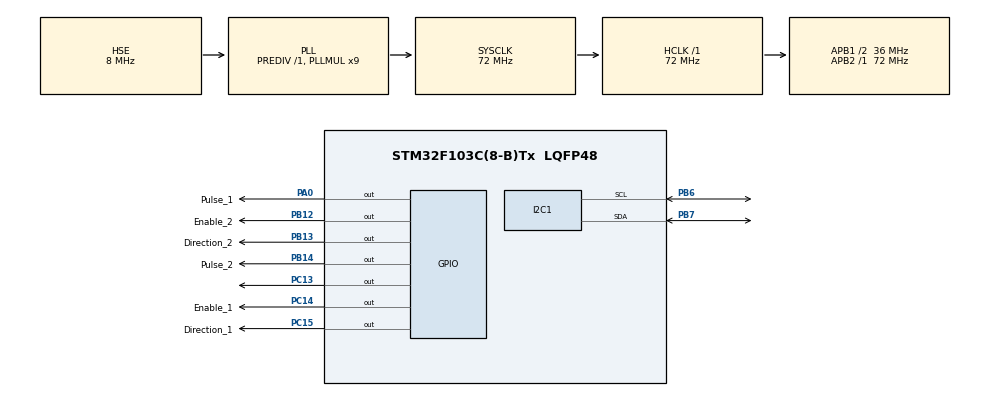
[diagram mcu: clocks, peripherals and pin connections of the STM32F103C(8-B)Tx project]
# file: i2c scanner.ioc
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I2C1.OwnAddress=32
Mcu.Family=STM32F1
Mcu.Name=STM32F103C(8-B)Tx
Mcu.Package=LQFP48
NVIC.I2C1_ER_IRQn=true\:0\:0\:false\:false\:true\:true\:true\:true
NVIC.I2C1_EV_IRQn=true\:0\:0\:false\:false\:true\:true\:true\:true
NVIC.PriorityGroup=NVIC_PRIORITYGROUP_4
NVIC.RCC_IRQn=true\:0\:0\:false\:false\:true\:true\:false\:true
NVIC.TIM1_BRK_IRQn=true\:0\:0\:false\:false\:true\:true\:true\:true
NVIC.TIM1_CC_IRQn=true\:0\:0\:false\:false\:true\:true\:true\:true
NVIC.TIM1_TRG_COM_IRQn=true\:0\:0\:false\:false\:true\:true\:true\:true
NVIC.TIM1_UP_IRQn=true\:0\:0\:false\:false\:true\:true\:true\:true
NVIC.TIM2_IRQn=true\:0\:0\:false\:false\:true\:true\:true\:true
PA0-WKUP.GPIO_Label=Pulse_1
PA0-WKUP.Signal=GPIO_Output
PA13.Mode=Serial_Wire
PA13.Signal=SYS_JTMS-SWDIO
PA14.Mode=Serial_Wire
PA14.Signal=SYS_JTCK-SWCLK
PB12.GPIO_Label=Enable_2
PB12.Signal=GPIO_Output
PB13.GPIO_Label=Direction_2
PB13.Signal=GPIO_Output
PB14.GPIO_Label=Pulse_2
PB14.Signal=GPIO_Output
PB6.Mode=I2C
PB6.Signal=I2C1_SCL
PB7.Mode=I2C
PB7.Signal=I2C1_SDA
PC13-TAMPER-RTC.Signal=GPIO_Output
PC14-OSC32_IN.GPIO_Label=Enable_1
PC14-OSC32_IN.Signal=GPIO_Output
PC15-OSC32_OUT.GPIO_Label=Direction_1
PC15-OSC32_OUT.Signal=GPIO_Output
PD0-OSC_IN.Mode=HSE-External-Oscillator
PD0-OSC_IN.Signal=RCC_OSC_IN
PD1-OSC_OUT.Mode=HSE-External-Oscillator
PD1-OSC_OUT.Signal=RCC_OSC_OUT
ProjectManager.HeapSize=0x200
ProjectManager.StackSize=0x400
ProjectManager.TargetToolchain=STM32CubeIDE
RCC.AHBFreq_Value=72000000
RCC.APB1CLKDivider=RCC_HCLK_DIV2
RCC.APB1Freq_Value=36000000
RCC.APB1TimFreq_Value=72000000
RCC.APB2Freq_Value=72000000
RCC.APB2TimFreq_Value=72000000
RCC.HCLKFreq_Value=72000000
RCC.PLLMUL=RCC_PLL_MUL9
RCC.PLLSourceVirtual=RCC_PLLSOURCE_HSE
RCC.SYSCLKFreq_VALUE=72000000
RCC.SYSCLKSource=RCC_SYSCLKSOURCE_PLLCLK
RCC.USBFreq_Value=72000000
TIM1.Period=49
TIM1.Prescaler=7199
TIM1.RepetitionCounter=0
TIM1.TIM_MasterOutputTrigger=TIM_TRGO_UPDATE
TIM2.Period=49
TIM2.Prescaler=7199
VP_TIM1_VS_ClockSourceINT.Mode=Internal
VP_TIM2_VS_ClockSourceINT.Mode=Internal
board=custom

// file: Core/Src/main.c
/* USER CODE BEGIN Header */
/**
  ******************************************************************************
  * @file           : main.c
  * @brief          : Main program body
  ******************************************************************************
  * @attention
  *
  * Copyright (c) 2025 STMicroelectronics.
  * All rights reserved.
  *
  * This software is licensed under terms that can be found in the LICENSE file
  * in the root directory of this software component.
  * If no LICENSE file comes with this software, it is provided AS-IS.
  *
  ******************************************************************************
  */
/* USER CODE END Header */
#include "main.h"

I2C_HandleTypeDef hi2c1;

TIM_HandleTypeDef htim1;
TIM_HandleTypeDef htim2;

/* USER CODE BEGIN PV */
uint8_t data_length = 0;    // 1-byte -- data length
uint8_t received_data[MAX_DATA_SIZE];  // buffer for data
int a[MAX_DATA_SIZE];       // Int massivi, ESP32 dan kelgan ma'lumotlar
uint8_t receive_step = 0;   // receive step (0 - length waiting, 1 - data waiting)
uint8_t receive_flag = 0;   // data is ready flag

// Global o'zgaruvchilar - TIM1 va TIM2 interrupt handlerlarida ishlatiladi
int tim1_counter_1 = 0; // Motor 1 uchun qadam sanagich (ishlayotgan vaqtda qolgan pulslar)
int tim2_counter_1 = 0; // Motor 2 uchun qadam sanagich (ishlayotgan vaqtda qolgan pulslar)

// YANGI GLOBAL O'ZGARUVCHILAR - HAR BIR MOTOR UCHUN KONFIGURATSIYA VA PULSLARNI SAQLASH UCHUN
uint8_t motor1_config[7] = {0}; // mode, id, enable, dir, velocity, byte_5, byte_6
uint8_t motor2_config[7] = {0}; // mode, id, enable, dir, velocity, byte_5, byte_6

volatile int motor1_total_pulses = 0; // Motor 1 uchun hisoblangan umumiy pulslar soni
volatile int motor2_total_pulses = 0; // Motor 2 uchun hisoblangan umumiy pulslar soni

/* USER CODE END PV */

void SystemClock_Config(void);
static void MX_GPIO_Init(void);
static void MX_I2C1_Init(void);
static void MX_TIM1_Init(void);
static void MX_TIM2_Init(void);
/* USER CODE BEGIN PFP */
// I2C callback funksiyalarini bu yerda e'lon qilish
void HAL_I2C_ListenCpltCallback(I2C_HandleTypeDef *hi2c);
void HAL_I2C_AddrCallback(I2C_HandleTypeDef *hi2c, uint8_t TransferDirection, uint16_t AddrMatchCode);
void HAL_I2C_SlaveRxCpltCallback(I2C_HandleTypeDef *hi2c);
/* USER CODE END PFP */

int main(void)
{

  /* MCU Configuration--------------------------------------------------------*/

  /* Reset of all peripherals, Initializes the Flash interface and the Systick. */
  HAL_Init();

  /* Configure the system clock */
  SystemClock_Config();

  /* Initialize all configured peripherals */
  MX_GPIO_Init();
  MX_I2C1_Init();
  MX_TIM1_Init();
  MX_TIM2_Init();
  /* USER CODE BEGIN 2 */
  HAL_I2C_EnableListen_IT(&hi2c1); // I2C ni boshida tinglash rejimiga o'rnatish

  // Motor 1 pinlarini boshlang'ich holatga keltirish
  // Drayver Enable pini PAST (0) da faol bo'lsa, SET = o'chirilgan holat (Disabled)
  HAL_GPIO_WritePin(Enable_1_GPIO_Port, Enable_1_Pin, SET); // Motor drayverini boshida o'chirish (Disabled)
  HAL_GPIO_WritePin(Direction_1_GPIO_Port, Direction_1_Pin, RESET); // Yo'nalishni RESET holatiga qo'yish (drayver talabiga qarab)
  HAL_GPIO_WritePin(Pulse_1_GPIO_Port, Pulse_1_Pin, RESET); // Puls pinini RESET holatiga qo'yish

  // Motor 2 pinlarini boshlang'ich holatga keltirish
  // Drayver Enable pini PAST (0) da faol bo'lsa, SET = o'chirilgan holat (Disabled)
  HAL_GPIO_WritePin(Enable_2_GPIO_Port, Enable_2_Pin, SET); // Motor drayverini boshida o'chirish (Disabled)
  HAL_GPIO_WritePin(Direction_2_GPIO_Port, Direction_2_Pin, RESET); // Yo'nalishni RESET holatiga qo'yish (drayver talabiga qarab)
  HAL_GPIO_WritePin(Pulse_2_GPIO_Port, Pulse_2_Pin, RESET); // Puls pinini RESET holatiga qo'yish
  /* USER CODE END 2 */

  /* Infinite loop */
  /* USER CODE BEGIN WHILE */
  while (1)
  {
	  if(receive_flag)
	  {
		  receive_flag = 0;

		  // I2C ma'lumotlar formati:
		  // a[0] = mode (0 - only config, 1 - start or config+start, 2 - stop)
		  // a[1] = motor id (1 - Motor 1, 0 - Motor 2)
		  // a[2] = Enable (0=disabled, 1=enabled)
		  // a[3] = Direction (0=clockwise, 1=counter-clockwise)
		  // a[4] = Velocity (gradus/sekund)
		  // a[5] = degree_byte_high (darajaning yuzlik va mingliklari)
		  // a[6] = degree_byte_low (darajaning birlik va o'nliklari)
		  // Jami gradus = a[5]*100 + a[6]

		  // Stop buyrug'i (a[0] == 2) - barcha motorlarni to'xtatish
		  if(a[0] == 2)
		  {
		      HAL_TIM_Base_Stop_IT(&htim1);
		      HAL_GPIO_WritePin(Enable_1_GPIO_Port, Enable_1_Pin, SET); // Motor 1 drayverini o'chirish
		      tim1_counter_1 = 0; // Hisoblagichni nolga tiklash

		      HAL_TIM_Base_Stop_IT(&htim2);
		      HAL_GPIO_WritePin(Enable_2_GPIO_Port, Enable_2_Pin, SET); // Motor 2 drayverini o'chirish
		      tim2_counter_1 = 0; // Hisoblagichni nolga tiklash
		  }
		  else if(a[0] == 0) // Faqat Konfiguratsiya buyrug'i (a[0] == 0)
		  {
			  // Motor 1 uchun buyruq
			  if(a[1] == 1)
			  {
				  // Konfiguratsiya parametrlarini motor1_config massiviga nusxalash
				  for(int i = 0; i < data_length && i < 7; i++) {
				      motor1_config[i] = a[i];
				  }

				  if(motor1_config[2] == 0)	// Motor 1 disabled (Enable_1_Pin = SET)
				  {
					  HAL_GPIO_WritePin(Enable_1_GPIO_Port, Enable_1_Pin, SET); // Motor drayverini o'chirish (Disabled)
					  HAL_TIM_Base_Stop_IT(&htim1); // Taymerni to'xtatish
					  tim1_counter_1 = 0; // Qadam sanagichni nolga qaytarish
					  motor1_total_pulses = 0; // Pulslarni ham nolga tiklash
				  }
				  else		// Motor 1 enabled (Enable_1_Pin = RESET)
				  {
					  HAL_GPIO_WritePin(Enable_1_GPIO_Port, Enable_1_Pin, RESET); // Motor drayverini yoqish (Enabled)

					  if(motor1_config[3] == 0) // Direction: Clockwise (Drayver mantiqiga qarab SET/RESET)
					  {
						  HAL_GPIO_WritePin(Direction_1_GPIO_Port, Direction_1_Pin, SET);
					  }
					  else		// Direction: Counter-clockwise (Drayver mantiqiga qarab SET/RESET)
					  {
						  HAL_GPIO_WritePin(Direction_1_GPIO_Port, Direction_1_Pin, RESET);
					  }

					  // Pulslar sonini hisoblash (daraja asosida) va saqlash
					  int current_total_degree = motor1_config[5] * 100 + motor1_config[6];
					  if (MS_4 == 0) { /* MS_4 nol bo'lsa xato holatini boshqaring */ }
					  motor1_total_pulses = (int)(((float)current_total_degree * (float)MS_4 / 360.0f));
					  motor1_total_pulses *= 2; // Har bir qadam uchun ikki marta toggle qilish (HIGH va LOW uchun)

					  // Tezlikni sozlash (Prescaler) - BU QISM TUZATILDI
					  HAL_TIM_Base_Stop_IT(&htim1); // Taymerni to'xtatish

					  if (motor1_config[4] > 0) // gradus/sekund > 0 bo'lsa
					  {
						  float gradus_per_second_m1 = (float)motor1_config[4];
						  float steps_per_second_m1 = (gradus_per_second_m1 / 360.0f) * MS_4; // MS_4 = 800
						  float toggle_operations_per_second_m1 = steps_per_second_m1 * 2.0f;

						  if (toggle_operations_per_second_m1 > 0)
						  {
							  // Prescaler = (Takt chastotasi / (Kerakli_Toggle_Chastotasi * (Period + 1))) - 1
							  // SystemCoreClock = 72MHz, Period = 49 (ya'ni Period + 1 = 50)
							  int new_ps = (int)((float)SystemCoreClock / (toggle_operations_per_second_m1 * (htim1.Init.Period + 1))) - 1;
							  if (new_ps < 0) new_ps = 0;
							  htim1.Init.Prescaler = (uint16_t)new_ps;
						  }
						  else
						  {
							  // Agar hisoblangan toggle chastotasi nol yoki manfiy bo'lsa
							  HAL_TIM_Base_Stop_IT(&htim1);
							  tim1_counter_1 = 0;
							  motor1_total_pulses = 0;
							  htim1.Init.Prescaler = 7199;
						  }
					  }
					  else // motor1_config[4] == 0 bo'lsa, motorni to'xtatish
					  {
						  HAL_TIM_Base_Stop_IT(&htim1);
						  tim1_counter_1 = 0; // Qadam sanagichni ham 0 qilish
						  motor1_total_pulses = 0; // Pulslarni ham 0 qilish
						  htim1.Init.Prescaler = 7199; // Standart yoki maksimal prescaler
					  }

					  // YANGI PRESCALER BILAN TAYMERNI QAYTA INITSIALIZATSIYA QILISH! BU JUDA MUHIM!
					  if (HAL_TIM_Base_Init(&htim1) != HAL_OK)
					  {
						  Error_Handler(); // Taymerni initsializatsiya qilishda xato yuzaga kelsa
					  }
				  }
			  }
			  // Motor 2 uchun buyruq (TIM2 orqali)
			  else if(a[1] == 0) // Motor ID 0 deb berilgan, Motor 2 uchun
			  {
				  // Konfiguratsiya parametrlarini motor2_config massiviga nusxalash
				  for(int i = 0; i < data_length && i < 7; i++) {
				      motor2_config[i] = a[i];
				  }

				  if(motor2_config[2] == 0)	// Motor 2 disabled (Enable_2_Pin = SET)
				  {
					  HAL_GPIO_WritePin(Enable_2_GPIO_Port, Enable_2_Pin, SET); // Motor drayverini o'chirish
					  HAL_TIM_Base_Stop_IT(&htim2); // TIM2 ni to'xtatish
					  tim2_counter_1 = 0; // Qadam sanagichni nolga qaytarish
					  motor2_total_pulses = 0; // Pulslarni ham nolga tiklash
				  }
				  else		// Motor 2 enabled (Enable_2_Pin = RESET)
				  {
					  HAL_GPIO_WritePin(Enable_2_GPIO_Port, Enable_2_Pin, RESET); // Motor drayverini yoqish

					  if(motor2_config[3] == 0) // Direction: Clockwise (Drayver mantiqiga qarab SET/RESET)
					  {
						  HAL_GPIO_WritePin(Direction_2_GPIO_Port, Direction_2_Pin, SET);
					  }
					  else		// Direction: Counter-clockwise (Drayver mantiqiga qarab SET/RESET)
					  {
						  HAL_GPIO_WritePin(Direction_2_GPIO_Port, Direction_2_Pin, RESET);
					  }

					  // Pulslar sonini hisoblash (daraja asosida) va saqlash
					  int current_total_degree = motor2_config[5] * 100 + motor2_config[6];
					  if (MS_4 == 0) { /* MS_4 nol bo'lsa xato holatini boshqaring */ }
					  motor2_total_pulses = (int)(((float)current_total_degree * (float)MS_4 / 360.0f));
					  motor2_total_pulses *= 2; // Har bir qadam uchun ikki marta toggle qilish (HIGH va LOW uchun)

					  // Tezlikni sozlash (Prescaler) - BU QISM TUZATILDI
					  HAL_TIM_Base_Stop_IT(&htim2); // TIM2 ni to'xtatish

					  if (motor2_config[4] > 0) // gradus/sekund > 0 bo'lsa
					  {
						  float gradus_per_second_m2 = (float)motor2_config[4];
						  float steps_per_second_m2 = (gradus_per_second_m2 / 360.0f) * MS_4;
						  float toggle_operations_per_second_m2 = steps_per_second_m2 * 2.0f;

						  if (toggle_operations_per_second_m2 > 0)
						  {
							  int new_ps = (int)((float)SystemCoreClock / (toggle_operations_per_second_m2 * (htim2.Init.Period + 1))) - 1;
							  if (new_ps < 0) new_ps = 0;
							  htim2.Init.Prescaler = (uint16_t)new_ps;
						  }
						  else
						  {
							  // Agar hisoblangan toggle chastotasi nol yoki manfiy bo'lsa
							  HAL_TIM_Base_Stop_IT(&htim2);
							  tim2_counter_1 = 0;
							  motor2_total_pulses = 0;
							  htim2.Init.Prescaler = 7199;
						  }
					  }
					  else // motor2_config[4] == 0 bo'lsa, motorni to'xtatish
					  {
						  HAL_TIM_Base_Stop_IT(&htim2);
						  tim2_counter_1 = 0; // Qadam sanagichni ham 0 qilish
						  motor2_total_pulses = 0; // Pulslarni ham 0 qilish
						  htim2.Init.Prescaler = 7199; // Standart yoki maksimal prescaler
					  }

					  // YANGI PRESCALER BILAN TAYMERNI QAYTA INITSIALIZATSIYA QILISH! BU JUDA MUHIM!
					  if (HAL_TIM_Base_Init(&htim2) != HAL_OK) // htim2 ni qayta initsializatsiya qilish
					  {
						  Error_Handler(); // Taymerni initsializatsiya qilishda xato yuzaga kelsa
					  }
				  }
			  }
		  }
		  else if(a[0] == 1) // Start buyrug'i (a[0] == 1) - Ikkala motorni ham ishga tushirish
		  {
			  // Motor 1 ni ishga tushirish, agar u ilgari konfiguratsiya qilingan va enabled bo'lsa
			  // va harakatlanish uchun pulslar mavjud bo'lsa
			  if(motor1_config[2] == 1 && motor1_config[4] > 0 && motor1_total_pulses > 0)
			  {
				  // Motor 1 uchun yo'nalishni qayta sozlash (faqat startda yangilanishi uchun)
				  if(motor1_config[3] == 0) // CW
				  {
					  HAL_GPIO_WritePin(Direction_1_GPIO_Port, Direction_1_Pin, SET);
				  }
				  else		// CCW
				  {
					  HAL_GPIO_WritePin(Direction_1_GPIO_Port, Direction_1_Pin, RESET);
				  }

				  tim1_counter_1 = motor1_total_pulses; // Hisoblangan pulslarni o'rnatish
				  HAL_TIM_Base_Start_IT(&htim1); // Taymer interruptini boshlash
			  }

			  // Motor 2 ni ishga tushirish, agar u ilgari konfiguratsiya qilingan va enabled bo'lsa
			  // va harakatlanish uchun pulslar mavjud bo'lsa
			  if(motor2_config[2] == 1 && motor2_config[4] > 0 && motor2_total_pulses > 0)
			  {
				  // Motor 2 uchun yo'nalishni qayta sozlash (faqat startda yangilanishi uchun)
				  if(motor2_config[3] == 0) // CW
				  {
					  HAL_GPIO_WritePin(Direction_2_GPIO_Port, Direction_2_Pin, SET);
				  }
				  else		// CCW
				  {
					  HAL_GPIO_WritePin(Direction_2_GPIO_Port, Direction_2_Pin, RESET);
				  }

				  tim2_counter_1 = motor2_total_pulses; // Hisoblangan pulslarni o'rnatish
				  HAL_TIM_Base_Start_IT(&htim2); // Taymer interruptini boshlash
			  }
		  }
    	}
    /* USER CODE END WHILE */

  }
}

void SystemClock_Config(void)
{
  RCC_OscInitTypeDef RCC_OscInitStruct = {0};
  RCC_ClkInitTypeDef RCC_ClkInitStruct = {0};

  /** Initializes the RCC Oscillators according to the specified parameters
  * in the RCC_OscInitTypeDef structure.
  */
  RCC_OscInitStruct.OscillatorType = RCC_OSCILLATORTYPE_HSE;
  RCC_OscInitStruct.HSEState = RCC_HSE_ON;
  RCC_OscInitStruct.HSEPredivValue = RCC_HSE_PREDIV_DIV1;
  RCC_OscInitStruct.HSIState = RCC_HSI_ON;
  RCC_OscInitStruct.PLL.PLLState = RCC_PLL_ON;
  RCC_OscInitStruct.PLL.PLLSource = RCC_PLLSOURCE_HSE;
  RCC_OscInitStruct.PLL.PLLMUL = RCC_PLL_MUL9;
  if (HAL_RCC_OscConfig(&RCC_OscInitStruct) != HAL_OK)
  {
    Error_Handler();
  }

  /** Initializes the CPU, AHB and APB buses clocks
  */
  RCC_ClkInitStruct.ClockType = RCC_CLOCKTYPE_HCLK|RCC_CLOCKTYPE_SYSCLK
                              |RCC_CLOCKTYPE_PCLK1|RCC_CLOCKTYPE_PCLK2;
  RCC_ClkInitStruct.SYSCLKSource = RCC_SYSCLKSOURCE_PLLCLK;
  RCC_ClkInitStruct.AHBCLKDivider = RCC_SYSCLK_DIV1;
  RCC_ClkInitStruct.APB1CLKDivider = RCC_HCLK_DIV2;
  RCC_ClkInitStruct.APB2CLKDivider = RCC_HCLK_DIV1;

  if (HAL_RCC_ClockConfig(&RCC_ClkInitStruct, FLASH_LATENCY_2) != HAL_OK)
  {
    Error_Handler();
  }
}

static void MX_I2C1_Init(void)
{

  hi2c1.Instance = I2C1;
  hi2c1.Init.ClockSpeed = 100000;
  hi2c1.Init.DutyCycle = I2C_DUTYCYCLE_2;
  hi2c1.Init.OwnAddress1 = 64; // !!! Avvalgi suhbatlarimizdagi natija: 0x20 ESP32 manziliga mos keladi
  hi2c1.Init.AddressingMode = I2C_ADDRESSINGMODE_7BIT;
  hi2c1.Init.DualAddressMode = I2C_DUALADDRESS_DISABLE;
  hi2c1.Init.OwnAddress2 = 0;
  hi2c1.Init.GeneralCallMode = I2C_GENERALCALL_DISABLE;
  hi2c1.Init.NoStretchMode = I2C_NOSTRETCH_DISABLE;
  if (HAL_I2C_Init(&hi2c1) != HAL_OK)
  {
    Error_Handler();
  }

}

static void MX_TIM1_Init(void)
{

  TIM_ClockConfigTypeDef sClockSourceConfig = {0};
  TIM_MasterConfigTypeDef sMasterConfig = {0};

  htim1.Instance = TIM1;
  htim1.Init.Prescaler = 7199; // Dastlabki qiymat, ish vaqtida o'zgaradi
  htim1.Init.CounterMode = TIM_COUNTERMODE_UP;
  htim1.Init.Period = 49;     // 50% ish sikli uchun (N-1) formula: 50 - 1 = 49
  htim1.Init.ClockDivision = TIM_CLOCKDIVISION_DIV1;
  htim1.Init.RepetitionCounter = 0;
  htim1.Init.AutoReloadPreload = TIM_AUTORELOAD_PRELOAD_DISABLE;
  if (HAL_TIM_Base_Init(&htim1) != HAL_OK)
  {
    Error_Handler();
  }
  sClockSourceConfig.ClockSource = TIM_CLOCKSOURCE_INTERNAL;
  if (HAL_TIM_ConfigClockSource(&htim1, &sClockSourceConfig) != HAL_OK)
  {
    Error_Handler();
  }
  sMasterConfig.MasterOutputTrigger = TIM_TRGO_UPDATE; // Taymerning UPDATE hodisasida trigger
  sMasterConfig.MasterSlaveMode = TIM_MASTERSLAVEMODE_DISABLE;
  if (HAL_TIMEx_MasterConfigSynchronization(&htim1, &sMasterConfig) != HAL_OK)
  {
    Error_Handler();
  }

}

static void MX_TIM2_Init(void)
{

  TIM_ClockConfigTypeDef sClockSourceConfig = {0};
  TIM_MasterConfigTypeDef sMasterConfig = {0};

  htim2.Instance = TIM2;
  htim2.Init.Prescaler = 7199;
  htim2.Init.CounterMode = TIM_COUNTERMODE_UP;
  htim2.Init.Period = 49;
  htim2.Init.ClockDivision = TIM_CLOCKDIVISION_DIV1;
  htim2.Init.AutoReloadPreload = TIM_AUTORELOAD_PRELOAD_DISABLE;
  if (HAL_TIM_Base_Init(&htim2) != HAL_OK)
  {
    Error_Handler();
  }
  sClockSourceConfig.ClockSource = TIM_CLOCKSOURCE_INTERNAL;
  if (HAL_TIM_ConfigClockSource(&htim2, &sClockSourceConfig) != HAL_OK)
  {
    Error_Handler();
  }
  sMasterConfig.MasterOutputTrigger = TIM_TRGO_UPDATE; // !!! MUHIM: TIM_TRGO_RESET emas, TIM_TRGO_UPDATE !!!
  sMasterConfig.MasterSlaveMode = TIM_MASTERSLAVEMODE_DISABLE;
  if (HAL_TIMEx_MasterConfigSynchronization(&htim2, &sMasterConfig) != HAL_OK)
  {
    Error_Handler();
  }

}

static void MX_GPIO_Init(void)
{
  GPIO_InitTypeDef GPIO_InitStruct = {0};

  /* GPIO Ports Clock Enable */
  __HAL_RCC_GPIOC_CLK_ENABLE();
  // __HAL_RCC_GPIOD_CLK_ENABLE(); // Agar PD portida GPIO ishlatilmayotgan bo'lsa, o'chirishingiz mumkin.
  __HAL_RCC_GPIOA_CLK_ENABLE();
  __HAL_RCC_GPIOB_CLK_ENABLE();

  /*Configure GPIO pin Output Level for PC13 (if used as LED, etc.) */
  HAL_GPIO_WritePin(GPIOC, GPIO_PIN_13, GPIO_PIN_RESET);

  /*Configure GPIO pin Output Level for Motor 1 */
  // Agar Enable_1_Pin va Direction_1_Pin PC portida bo'lsa:
  HAL_GPIO_WritePin(Enable_1_GPIO_Port, Enable_1_Pin | Direction_1_Pin, GPIO_PIN_RESET); // Qanday holatda boshlanishi sizning loyihangizga bog'liq
  HAL_GPIO_WritePin(Pulse_1_GPIO_Port, Pulse_1_Pin, GPIO_PIN_RESET);

  /*Configure GPIO pin Output Level for Motor 2 */
  HAL_GPIO_WritePin(GPIOB, Enable_2_Pin | Direction_2_Pin | Pulse_2_Pin, GPIO_PIN_RESET); // Dastlabki holatni belgilash

  /*Configure GPIO pins : PC13 (example for a general purpose pin like LED) */
  GPIO_InitStruct.Pin = GPIO_PIN_13;
  GPIO_InitStruct.Mode = GPIO_MODE_OUTPUT_PP;
  GPIO_InitStruct.Pull = GPIO_NOPULL;
  GPIO_InitStruct.Speed = GPIO_SPEED_FREQ_LOW;
  HAL_GPIO_Init(GPIOC, &GPIO_InitStruct);

  /*Configure GPIO pins for Motor 1 */
  GPIO_InitStruct.Pin = Enable_1_Pin | Direction_1_Pin;
  GPIO_InitStruct.Mode = GPIO_MODE_OUTPUT_PP;
  GPIO_InitStruct.Pull = GPIO_NOPULL;
  GPIO_InitStruct.Speed = GPIO_SPEED_FREQ_LOW;
  HAL_GPIO_Init(Enable_1_GPIO_Port, &GPIO_InitStruct); // Enable_1, Direction_1 pinlari uchun

  // Pulse_1_Pin alohida portda bo'lgani uchun alohida sozlash
  GPIO_InitStruct.Pin = Pulse_1_Pin;
  GPIO_InitStruct.Mode = GPIO_MODE_OUTPUT_PP;
  GPIO_InitStruct.Pull = GPIO_NOPULL;
  GPIO_InitStruct.Speed = GPIO_SPEED_FREQ_LOW;
  HAL_GPIO_Init(Pulse_1_GPIO_Port, &GPIO_InitStruct);

  /*Configure GPIO pins for Motor 2 (PB.12, PB.13, PB.14) */
  GPIO_InitStruct.Pin = Enable_2_Pin | Direction_2_Pin | Pulse_2_Pin;
  GPIO_InitStruct.Mode = GPIO_MODE_OUTPUT_PP;
  GPIO_InitStruct.Pull = GPIO_NOPULL;
  GPIO_InitStruct.Speed = GPIO_SPEED_FREQ_LOW;
  HAL_GPIO_Init(GPIOB, &GPIO_InitStruct); // Barcha motor 2 pinlari (PB12, PB13, PB14)

}

/* USER CODE BEGIN 4 */
/**
  * @brief  I2C Master listens for end of transfer.
  * @param  hi2c: I2C handle
  * @retval None
  */
void HAL_I2C_ListenCpltCallback (I2C_HandleTypeDef *hi2c)
{
    // Tinglash tsikli tugaganda (masalan, I2C aloqasi tugaganda) yana tinglashni yoqish
    HAL_I2C_EnableListen_IT(hi2c);
}

/**
  * @brief  I2C Master transmits data.
  * @param  hi2c: I2C handle
  * @param  TransferDirection: I2C_DIRECTION_TRANSMIT or I2C_DIRECTION_RECEIVE
  * @param  AddrMatchCode: matched address
  * @retval None
  */
void HAL_I2C_AddrCallback(I2C_HandleTypeDef *hi2c, uint8_t TransferDirection, uint16_t AddrMatchCode)
{
	 if (TransferDirection == I2C_DIRECTION_TRANSMIT) // Masterdan yozish
	    {
	        if(receive_step == 0) {
	        	// Birinchi bayt - data uzunligi
	        	// Bu birinchi frame bo'lgani uchun I2C_FIRST_FRAME ishlatamiz
	        	HAL_I2C_Slave_Sequential_Receive_IT(hi2c, &data_length, 1, I2C_FIRST_FRAME);
	        }
	        else {
	            // Qolgan ma'lumotlar
	            // Bu oxirgi frame bo'lgani uchun I2C_LAST_FRAME ishlatamiz
	            HAL_I2C_Slave_Sequential_Receive_IT(hi2c, received_data, data_length, I2C_LAST_FRAME);
	        }
	    }
}

/**
  * @brief  Slave Receive complete callback.
  * @param  hi2c: I2C handle
  * @retval None
  */
void HAL_I2C_SlaveRxCpltCallback(I2C_HandleTypeDef *hi2c)
{
	if(receive_step == 0) {
		receive_step = 1; // Keyingi qadamga o'tish: ma'lumotlarni qabul qilish
		if(data_length > MAX_DATA_SIZE) {
			data_length = MAX_DATA_SIZE; // Buffer to'lib ketishini oldini olish
		}
        // Ma'lumot uzunligi qabul qilindi, endi ma'lumotlarni kutish uchun qayta tinglash
        HAL_I2C_EnableListen_IT(hi2c); // I2C_FIRST_FRAME dan keyin tinglashni davom ettirish
	}
	else {
		// Ma'lumotlar to'liq qabul qilindi
		for(int i = 0; i < data_length; i++) {
			a[i] = (int)received_data[i];
		}

        // BU YERDA YURITILADI: Agar mode konfiguratsiya (0x00) bo'lsa, parametrlarni saqlash
        if (a[0] == 0) {
            if (a[1] == 1) { // Motor 1 konfiguratsiyasi
                for(int i = 0; i < data_length && i < 7; i++) {
                    motor1_config[i] = a[i];
                }
                // Motor 1 uchun jami pulslarni hisoblash va saqlash
                int total_degree = motor1_config[5] * 100 + motor1_config[6];
                if (MS_4 != 0) {
                    motor1_total_pulses = (int)(((float)total_degree * (float)MS_4 / 360.0f));
                    motor1_total_pulses *= 2;
                } else {
                    motor1_total_pulses = 0; // MS_4 nol bo'lsa, pulslar ham nol
                }
            } else if (a[1] == 0) { // Motor 2 konfiguratsiyasi
                for(int i = 0; i < data_length && i < 7; i++) {
                    motor2_config[i] = a[i];
                }
                // Motor 2 uchun jami pulslarni hisoblash va saqlash
                int total_degree = motor2_config[5] * 100 + motor2_config[6];
                if (MS_4 != 0) {
                    motor2_total_pulses = (int)(((float)total_degree * (float)MS_4 / 360.0f));
                    motor2_total_pulses *= 2;
                } else {
                    motor2_total_pulses = 0; // MS_4 nol bo'lsa, pulslar ham nol
                }
            }
        }

		receive_flag = 1; // Ma'lumotlar tayyor flagini o'rnatish
		receive_step = 0; // Keyingi qabul qilish uchun qadamni nolga qaytarish
        HAL_I2C_EnableListen_IT(hi2c); // Ma'lumotlar qabul qilingandan so'ng yana tinglashni yoqish
	}
}
/* USER CODE END 4 */

void Error_Handler(void)
{
  __disable_irq();
  while (1)
  {
  }
}
